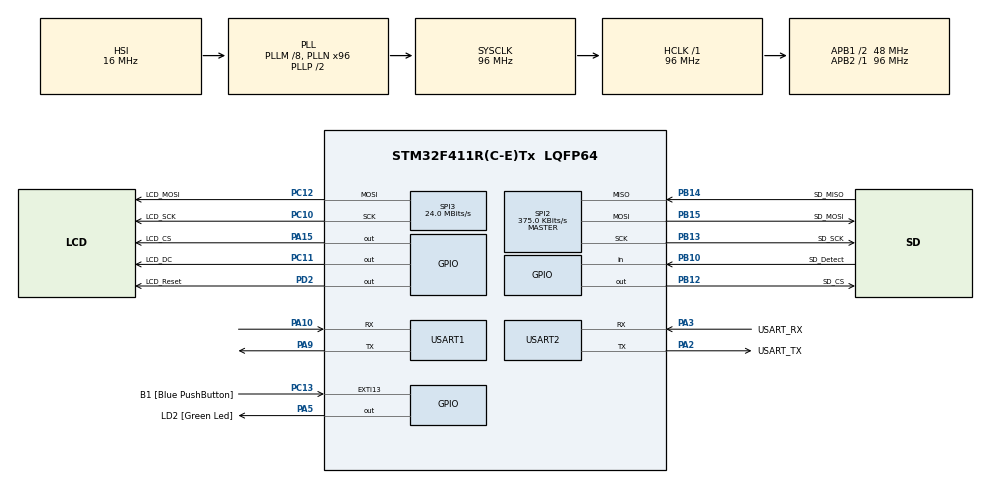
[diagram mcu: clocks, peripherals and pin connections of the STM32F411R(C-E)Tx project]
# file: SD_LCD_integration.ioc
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Mcu.Family=STM32F4
Mcu.Name=STM32F411R(C-E)Tx
Mcu.Package=LQFP64
NVIC.PriorityGroup=NVIC_PRIORITYGROUP_0
PA10.Mode=Asynchronous
PA10.Signal=USART1_RX
PA13.GPIO_Label=TMS
PA13.Mode=Serial_Wire
PA13.Signal=SYS_JTMS-SWDIO
PA14.GPIO_Label=TCK
PA14.Mode=Serial_Wire
PA14.Signal=SYS_JTCK-SWCLK
PA15.GPIO_Label=LCD_CS
PA15.Signal=GPIO_Output
PA2.GPIO_Label=USART_TX
PA2.Mode=Asynchronous
PA2.Signal=USART2_TX
PA3.GPIO_Label=USART_RX
PA3.Mode=Asynchronous
PA3.Signal=USART2_RX
PA5.GPIO_Label=LD2 [Green Led]
PA5.Signal=GPIO_Output
PA9.Mode=Asynchronous
PA9.Signal=USART1_TX
PB10.GPIO_Label=SD_Detect
PB10.GPIO_PuPd=GPIO_PULLUP
PB10.Signal=GPIO_Input
PB12.GPIO_Label=SD_CS
PB12.GPIO_PuPd=GPIO_PULLUP
PB12.Signal=GPIO_Output
PB13.GPIO_Label=SD_SCK
PB13.Mode=Full_Duplex_Master
PB13.Signal=SPI2_SCK
PB14.GPIO_Label=SD_MISO
PB14.GPIO_PuPd=GPIO_PULLUP
PB14.Mode=Full_Duplex_Master
PB14.Signal=SPI2_MISO
PB15.GPIO_Label=SD_MOSI
PB15.GPIO_PuPd=GPIO_PULLUP
PB15.Mode=Full_Duplex_Master
PB15.Signal=SPI2_MOSI
PB3.GPIO_Label=SWO
PB3.Signal=SYS_JTDO-SWO
PC10.GPIO_Label=LCD_SCK
PC10.Mode=TX_Only_Simplex_Unidirect_Master
PC10.Signal=SPI3_SCK
PC11.GPIO_Label=LCD_DC
PC11.Signal=GPIO_Output
PC12.GPIO_Label=LCD_MOSI
PC12.Mode=TX_Only_Simplex_Unidirect_Master
PC12.Signal=SPI3_MOSI
PC13-ANTI_TAMP.GPIO_Label=B1 [Blue PushButton]
PC13-ANTI_TAMP.GPIO_ModeDefaultEXTI=GPIO_MODE_IT_FALLING
PC13-ANTI_TAMP.Signal=GPXTI13
PC14-OSC32_IN.Mode=LSE-External-Oscillator
PC14-OSC32_IN.Signal=RCC_OSC32_IN
PC15-OSC32_OUT.Mode=LSE-External-Oscillator
PC15-OSC32_OUT.Signal=RCC_OSC32_OUT
PD2.GPIO_Label=LCD_Reset
PD2.Signal=GPIO_Output
PH0\ -\ OSC_IN.Mode=HSE-External-Clock-Source
PH0\ -\ OSC_IN.Signal=RCC_OSC_IN
PH1\ -\ OSC_OUT.Mode=HSE-External-Clock-Source
PH1\ -\ OSC_OUT.Signal=RCC_OSC_OUT
ProjectManager.HeapSize=0x200
ProjectManager.StackSize=0x400
ProjectManager.TargetToolchain=STM32CubeIDE
RCC.48MHZClocksFreq_Value=48000000
RCC.AHBFreq_Value=96000000
RCC.APB1CLKDivider=RCC_HCLK_DIV2
RCC.APB1Freq_Value=48000000
RCC.APB1TimFreq_Value=96000000
RCC.APB2Freq_Value=96000000
RCC.APB2TimFreq_Value=96000000
RCC.CortexFreq_Value=96000000
RCC.FLatency-AdvancedSettings=FLASH_LATENCY_3
RCC.HCLKFreq_Value=96000000
RCC.HSE_VALUE=8000000
RCC.HSI_VALUE=16000000
RCC.PLLM=8
RCC.PLLN=96
RCC.SYSCLKFreq_VALUE=96000000
RCC.SYSCLKSource=RCC_SYSCLKSOURCE_PLLCLK
RCC.VCOOutputFreq_Value=192000000
SPI2.BaudRatePrescaler=SPI_BAUDRATEPRESCALER_128
SPI2.CalculateBaudRate=375.0 KBits/s
SPI2.Direction=SPI_DIRECTION_2LINES
SPI2.Mode=SPI_MODE_MASTER
SPI2.VirtualType=VM_MASTER
SPI3.CalculateBaudRate=24.0 MBits/s
SPI3.Direction=SPI_DIRECTION_2LINES
SPI3.Mode=SPI_MODE_MASTER
SPI3.VirtualType=VM_MASTER
USART1.VirtualMode=VM_ASYNC
USART2.VirtualMode=VM_ASYNC
VP_FATFS_VS_Generic.Mode=User_defined
board=NUCLEO-F411RE

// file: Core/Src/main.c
/* USER CODE BEGIN Header */
/**
  ******************************************************************************
  * @file           : main.c
  * @brief          : Main program body
  ******************************************************************************
  * @attention
  *
  * Copyright (c) 2024 STMicroelectronics.
  * All rights reserved.
  *
  * This software is licensed under terms that can be found in the LICENSE file
  * in the root directory of this software component.
  * If no LICENSE file comes with this software, it is provided AS-IS.
  *
  ******************************************************************************
  */
/* USER CODE END Header */
#include "main.h"
#include "fatfs.h"

/* USER CODE BEGIN Includes */
#include <stdio.h>
#include <string.h>
#include "ili9341.h"
#include "fonts.h"
/* USER CODE END Includes */

SPI_HandleTypeDef hspi2;
SPI_HandleTypeDef hspi3;

UART_HandleTypeDef huart1;
UART_HandleTypeDef huart2;

/* USER CODE BEGIN PV */
int16_t x, y;
char buff[64];
uint16_t z=25;
/* USER CODE END PV */

void SystemClock_Config(void);
static void MX_GPIO_Init(void);
static void MX_USART2_UART_Init(void);
static void MX_SPI2_Init(void);
static void MX_SPI3_Init(void);
static void MX_USART1_UART_Init(void);

/* USER CODE BEGIN 0 */
#ifdef __GNUC__
  /* With GCC, small printf (option LD Linker->Libraries->Small printf
     set to 'Yes') calls __io_putchar() */
int __io_putchar(int ch)
#else
int fputc(int ch, FILE *f)
#endif /* __GNUC__ */
{
  /* Place your implementation of fputc here */
  /* e.g. write a character to the UART3 and Loop until the end of transmission */
  HAL_UART_Transmit(&huart1, (uint8_t *)&ch, 1, HAL_MAX_DELAY);
  return ch;
}

FATFS fs;  // file system
FIL file; // File
FILINFO fno;
FRESULT fresult;  // result
UINT br, bw;  // File read/write count

/**** capacity related *****/
FATFS *pfs;
DWORD fre_clust;
uint32_t total, free_space;
char buffer[100];
uint16_t farbe;

typedef struct BmpHeader
{
uint8_t B;
uint8_t M;
uint32_t fsize;
uint16_t res1;
uint16_t res2;
uint32_t offset;
uint32_t hsize;
uint32_t w;
uint32_t h;
uint16_t planes;
uint16_t bpp;
uint32_t ctype;
uint32_t dsize;
uint32_t hppm;
uint32_t vppm;
uint32_t colorsused;
uint32_t colorreq;
}BmpHeader;

#define SPIbuffSize 264
#define BUFFER_SIZE 1032
#define BITMAP_HEADER_SIZE sizeof(BmpHeader)
#define MIN(a, b) (((a)<(b))?(a): (b))

int bufsize (char *buf)				// returns size of buffer
{
   int i=0;
   while (*buf++ != '\0') i++;
   return i;
}

void bufclear (void)					// clears the global buffer variable for spi
{
    for (int i=0; i<1024;i++)
    {
    	buffer[i]= '\0';
    }
}

//int displayImage(const char* fname) {
////    UART_Printf("Openning %s...\r\n", fname);
////    FIL file;
//    FRESULT res = f_open(&file, fname, FA_READ);
//    if(res != FR_OK) {
//    	snprintf(buff, sizeof(buff), "f_open() failed, res = %d\r\n", res);
//    	printf("f_open() failed, res = %d\r\n", res);
//        ILI9341_WriteString(0, 10, buff, Font_7x10, ILI9341_RED, ILI9341_WHITE);
//        return -1;
//    }
//
//    printf("File opened, reading...\r\n");
//    ILI9341_WriteString(0, 20, "File opened, reading...\r\n", Font_7x10, ILI9341_RED, ILI9341_WHITE);
//
//    unsigned int bytesRead;
//    uint8_t header[34];
//    res = f_read(&file, header, sizeof(header), &bytesRead);
//    if(res != FR_OK) {
//    	printf("f_read() failed: %i\r\n", res);
//        ILI9341_WriteString(0, 30, "f_read() failed, res = %d\r\n", Font_7x10, ILI9341_RED, ILI9341_WHITE);
//        f_close(&file);
//        return -2;
//    }
//
//    if((header[0] != 0x42) || (header[1] != 0x4D)) {
//    	printf("Wrong BMP signature\r\n");
//        ILI9341_WriteString(0, 40, "Wrong BMP signature: 0x%02X 0x%02X\r\n", Font_7x10, ILI9341_RED, ILI9341_WHITE);
//        f_close(&file);
//        return -3;
//    }
//
//    uint32_t imageOffset = header[10] | (header[11] << 8) | (header[12] << 16) | (header[13] << 24);
//    uint32_t imageWidth = header[18] | (header[19] << 8) | (header[20] << 16) | (header[21] << 24);
//    uint32_t imageHeight = header[22] | (header[23] << 8) | (header[24] << 16) | (header[25] << 24);
//    uint16_t imagePlanes = header[26] | (header[27] << 8);
//    uint16_t imageBitsPerPixel = header[28] | (header[29] << 8);
//    uint32_t imageCompression = header[30] | (header[31] << 8) | (header[32] << 16) | (header[33] << 24);
//
//    printf("Pixels offset: %lu\r\n", imageOffset);
//    snprintf(buff, sizeof(buff), "Pixels offset: %lu\r\n ", imageOffset);
//	ILI9341_WriteString(0, 50, buff, Font_7x10, ILI9341_RED, ILI9341_WHITE);
//    printf("WxH: %lux%lu\r\n", imageWidth, imageHeight);
//	snprintf(buff, sizeof(buff), "WxH: %lux%lu\r\n ", imageWidth, imageHeight);
//	ILI9341_WriteString(0, 60, buff, Font_7x10, ILI9341_RED, ILI9341_WHITE);
//	printf("Planes: %d\r\n", imagePlanes);
//    snprintf(buff, sizeof(buff), "Planes: %d\r\n ", imagePlanes);
//	ILI9341_WriteString(0, 70, buff, Font_7x10, ILI9341_RED, ILI9341_WHITE);
//	printf("Bits per pixel: %ld\r\n", imageBitsPerPixel);
//    snprintf(buff, sizeof(buff), "Bits per pixel: %d\r\n ", imageBitsPerPixel);
//	ILI9341_WriteString(0, 80, buff, Font_7x10, ILI9341_RED, ILI9341_WHITE);
//	printf("Compression: %ld\r\n", imageCompression);
//    snprintf(buff, sizeof(buff), "Compression: %d\r\n ", imageCompression);
//	ILI9341_WriteString(0, 90, buff, Font_7x10, ILI9341_RED, ILI9341_WHITE);
//
////    if((imageWidth != ILI9341_WIDTH) || (imageHeight != ILI9341_HEIGHT)) {
//////        UART_Printf("Wrong BMP size, %dx%d expected\r\n", ST7735_WIDTH, ST7735_HEIGHT);
////        ILI9341_WriteString(0, 100, "Wrong BMP size, %dx%d expected\r\n", Font_7x10, ILI9341_RED, ILI9341_WHITE);
////        f_close(&file);
////        return -4;
////    }
//
//    if((imagePlanes != 1) || (imageBitsPerPixel != 24) || (imageCompression != 0)) {
//        ILI9341_WriteString(0, 110, "Unsupported image format\r\n", Font_7x10, ILI9341_RED, ILI9341_WHITE);
//        f_close(&file);
//        return -5;
//    }
//
//    res = f_lseek(&file, imageOffset);
//    if(res != FR_OK) {
//    	printf("f_lseek() failed, %i", res);
//        snprintf(buff, sizeof(buff), "f_lseek() failed, res = %d\r\n ", res);
//    	ILI9341_WriteString(0, 120, buff, Font_7x10, ILI9341_RED, ILI9341_WHITE);
//        f_close(&file);
//        return -6;
//    }
//
//    // row size is aligned to 4 bytes
//    uint8_t imageRow[(imageWidth * 3 + 3) & ~3];
//    for(uint32_t y = 0; y < imageHeight; y++) {
//        uint32_t rowIdx = 0;
//        res = f_read(&file, imageRow, sizeof(imageRow), &bytesRead);
//        if(res != FR_OK) {
//        	printf("f_read() failed, %i", res);
//            snprintf(buff, sizeof(buff), "f_read() failed, res = %d\r\n", res);
//        	ILI9341_WriteString(0, 130, buff, Font_7x10, ILI9341_RED, ILI9341_WHITE);
//            f_close(&file);
//            return -7;
//        }
//
//        for(uint32_t x = ILI9341_WIDTH - imageWidth; x < ILI9341_WIDTH; x++) {
//            uint8_t b = imageRow[rowIdx++];
//            uint8_t g = imageRow[rowIdx++];
//            uint8_t r = imageRow[rowIdx++];
//            uint16_t color565 = ILI9341_COLOR565(r, g, b);
//            ILI9341_DrawPixel(x, ILI9341_HEIGHT - y - 1, color565);
//        }
//    }
//
//    res = f_close(&file);
//    if(res != FR_OK) {
////        UART_Printf("f_close() failed, res = %d\r\n", res);
//    	printf("f_close() failed %i", res);
//        snprintf(buff, sizeof(buff), "f_close() failed, res = %d\r\n", res);
//    	ILI9341_WriteString(0, 140, buff, Font_7x10, ILI9341_RED, ILI9341_WHITE);
//        return -8;
//    }
//
//    return 0;
//}

int displayImage(const char*fname, uint32_t startx, uint32_t starty) {
	    FRESULT res = f_open(&file, fname, FA_READ);
	    if(res != FR_OK) {
	    	printf("f_open() failed, res = %d, %s\r\n", res, fname);
	        return -1;
	    }

	    printf("File opened, reading...\r\n");

	    unsigned int bytesRead;
	    uint8_t header[34];
	    res = f_read(&file, header, sizeof(header), &bytesRead);
	    if(res != FR_OK) {
	    	printf("f_read() failed: %i\r\n", res);
	        f_close(&file);
	        return -2;
	    }

	    if((header[0] != 0x42) || (header[1] != 0x4D)) {
	    	printf("Wrong BMP signature\r\n");
	        f_close(&file);
	        return -3;
	    }

	    uint32_t imageOffset = header[10] | (header[11] << 8) | (header[12] << 16) | (header[13] << 24);
	    uint32_t imageWidth = header[18] | (header[19] << 8) | (header[20] << 16) | (header[21] << 24);
	    uint32_t imageHeight = header[22] | (header[23] << 8) | (header[24] << 16) | (header[25] << 24);
	    uint16_t imagePlanes = header[26] | (header[27] << 8);
	    uint16_t imageBitsPerPixel = header[28] | (header[29] << 8);
	    uint32_t imageCompression = header[30] | (header[31] << 8) | (header[32] << 16) | (header[33] << 24);

	    if((imagePlanes != 1) || (imageBitsPerPixel != 24) || (imageCompression != 0)) {
	        f_close(&file);
	        return -5;
	    }

	    res = f_lseek(&file, imageOffset);
	    if(res != FR_OK) {
	    	printf("f_lseek() failed, %i", res);
	        snprintf(buff, sizeof(buff), "f_lseek() failed, res = %d\r\n ", res);
	    	ILI9341_WriteString(0, 120, buff, Font_7x10, ILI9341_RED, ILI9341_WHITE);
	        f_close(&file);
	        return -6;
	    }

	    // row size is aligned to 4 bytes
	    uint8_t imageRow[(imageWidth * 3 + 3) & ~3];
	    for(uint32_t y = starty; y < starty + imageHeight; y++) {
	        uint32_t rowIdx = 0;
	        res = f_read(&file, imageRow, sizeof(imageRow), &bytesRead);
	        if(res != FR_OK) {
	        	printf("f_read() failed, %i", res);
	            f_close(&file);
	            return -7;
	        }

	        for(uint32_t x = startx; x < startx + imageWidth; x++) {
	            uint8_t b = imageRow[rowIdx++];
	            uint8_t g = imageRow[rowIdx++];
	            uint8_t r = imageRow[rowIdx++];
	            uint16_t color565 = ILI9341_COLOR565(r, g, b);
	            ILI9341_DrawPixel(x, (2*starty) + imageHeight - y - 1, color565);
	        }
	    }

	    res = f_close(&file);
	    if(res != FR_OK) {
	    	printf("f_close() failed %i", res);
	        return -8;
	    }

	    return 0;
}

/* USER CODE END 0 */

int main(void)
{

  /* MCU Configuration--------------------------------------------------------*/

  /* Reset of all peripherals, Initializes the Flash interface and the Systick. */
  HAL_Init();

  /* Configure the system clock */
  SystemClock_Config();

  /* Initialize all configured peripherals */
  MX_GPIO_Init();
  MX_USART2_UART_Init();
  MX_SPI2_Init();
  MX_SPI3_Init();
  MX_FATFS_Init();
  MX_USART1_UART_Init();
  /* USER CODE BEGIN 2 */

  ILI9341_Init();
//  FRESULT res = f_mount(&fs, "", 0);
//   if(res != FR_OK) {
// //      UART_Printf("f_mount() failed, res = %d\r\n", res);
//	   printf("f_mount() failed %i\r\n", res);
//       snprintf(buff, sizeof(buff), "f_mount() failed, res = %d\r\n", res);
//   	ILI9341_WriteString(0, 150, buff, Font_7x10, ILI9341_RED, ILI9341_WHITE);
//       return -2;
//   }
//   printf("f_mount() done!\r\n");
//   ILI9341_WriteString(0, 160, "f_mount() done!\r\n", Font_7x10, ILI9341_RED, ILI9341_WHITE);

//  printf("\r\n~ SD card demo by kiwih ~\r\n\r\n");
//
  HAL_Delay(1000); //a short delay is important to let the SD card settle

  //some variables for FatFs
  FATFS FatFs; 	//Fatfs handle
  FIL file; 		//File handle
  FRESULT fres; //Result after operations

  //Open the file system
  fres = f_mount(&FatFs, "", 1); //1=mount now
  if (fres != FR_OK) {
	printf("f_mount error (%i)\r\n", fres);
	while(1);
  }

  //Let's get some statistics from the SD card
  DWORD free_clusters, free_sectors, total_sectors;

  FATFS* getFreeFs;

  fres = f_getfree("", &free_clusters, &getFreeFs);
  if (fres != FR_OK) {
	printf("f_getfree error (%i)\r\n", fres);
	while(1);
  }

  //Formula comes from ChaN's documentation
  total_sectors = (getFreeFs->n_fatent - 2) * getFreeFs->csize;
  free_sectors = free_clusters * getFreeFs->csize;

  printf("SD card stats:\r\n%10lu KiB total drive space.\r\n%10lu KiB available.\r\n", total_sectors / 2, free_sectors / 2);

  //Now let's try to open file "test.txt"
  fres = f_open(&file, "test.txt", FA_READ);
  if (fres != FR_OK) {
	printf("f_open error (%i)\r\n", fres);
	while(1);
  }
  printf("I was able to open 'test.txt' for reading!\r\n");

  //Read 30 bytes from "test.txt" on the SD card
  BYTE readBuf[30];

  //We can either use f_read OR f_gets to get data out of files
  //f_gets is a wrapper on f_read that does some string formatting for us
  TCHAR* rres = f_gets((TCHAR*)readBuf, 30, &file);
  if(rres != 0) {
	printf("Read string from 'test.txt' contents: %s\r\n", readBuf);
  } else {
	printf("f_gets error (%i)\r\n", fres);
  }

  //Be a tidy kiwi - don't forget to close your file!
  f_close(&file);
//
//  //We're done, so de-mount the drive
//  f_mount(NULL, "", 0);
  displayImage("full.bmp", 20, 0);
  /* USER CODE END 2 */

  /* Infinite loop */
  while (1)
  {

  }
}

void SystemClock_Config(void)
{
  RCC_OscInitTypeDef RCC_OscInitStruct = {0};
  RCC_ClkInitTypeDef RCC_ClkInitStruct = {0};

  /** Configure the main internal regulator output voltage
  */
  __HAL_RCC_PWR_CLK_ENABLE();
  __HAL_PWR_VOLTAGESCALING_CONFIG(PWR_REGULATOR_VOLTAGE_SCALE1);

  /** Initializes the RCC Oscillators according to the specified parameters
  * in the RCC_OscInitTypeDef structure.
  */
  RCC_OscInitStruct.OscillatorType = RCC_OSCILLATORTYPE_HSI;
  RCC_OscInitStruct.HSIState = RCC_HSI_ON;
  RCC_OscInitStruct.HSICalibrationValue = RCC_HSICALIBRATION_DEFAULT;
  RCC_OscInitStruct.PLL.PLLState = RCC_PLL_ON;
  RCC_OscInitStruct.PLL.PLLSource = RCC_PLLSOURCE_HSI;
  RCC_OscInitStruct.PLL.PLLM = 8;
  RCC_OscInitStruct.PLL.PLLN = 96;
  RCC_OscInitStruct.PLL.PLLP = RCC_PLLP_DIV2;
  RCC_OscInitStruct.PLL.PLLQ = 4;
  if (HAL_RCC_OscConfig(&RCC_OscInitStruct) != HAL_OK)
  {
    Error_Handler();
  }

  /** Initializes the CPU, AHB and APB buses clocks
  */
  RCC_ClkInitStruct.ClockType = RCC_CLOCKTYPE_HCLK|RCC_CLOCKTYPE_SYSCLK
                              |RCC_CLOCKTYPE_PCLK1|RCC_CLOCKTYPE_PCLK2;
  RCC_ClkInitStruct.SYSCLKSource = RCC_SYSCLKSOURCE_PLLCLK;
  RCC_ClkInitStruct.AHBCLKDivider = RCC_SYSCLK_DIV1;
  RCC_ClkInitStruct.APB1CLKDivider = RCC_HCLK_DIV2;
  RCC_ClkInitStruct.APB2CLKDivider = RCC_HCLK_DIV1;

  if (HAL_RCC_ClockConfig(&RCC_ClkInitStruct, FLASH_LATENCY_3) != HAL_OK)
  {
    Error_Handler();
  }
}

static void MX_SPI2_Init(void)
{

  /* SPI2 parameter configuration*/
  hspi2.Instance = SPI2;
  hspi2.Init.Mode = SPI_MODE_MASTER;
  hspi2.Init.Direction = SPI_DIRECTION_2LINES;
  hspi2.Init.DataSize = SPI_DATASIZE_8BIT;
  hspi2.Init.CLKPolarity = SPI_POLARITY_LOW;
  hspi2.Init.CLKPhase = SPI_PHASE_1EDGE;
  hspi2.Init.NSS = SPI_NSS_SOFT;
  hspi2.Init.BaudRatePrescaler = SPI_BAUDRATEPRESCALER_128;
  hspi2.Init.FirstBit = SPI_FIRSTBIT_MSB;
  hspi2.Init.TIMode = SPI_TIMODE_DISABLE;
  hspi2.Init.CRCCalculation = SPI_CRCCALCULATION_DISABLE;
  hspi2.Init.CRCPolynomial = 10;
  if (HAL_SPI_Init(&hspi2) != HAL_OK)
  {
    Error_Handler();
  }

}

static void MX_SPI3_Init(void)
{

  /* SPI3 parameter configuration*/
  hspi3.Instance = SPI3;
  hspi3.Init.Mode = SPI_MODE_MASTER;
  hspi3.Init.Direction = SPI_DIRECTION_2LINES;
  hspi3.Init.DataSize = SPI_DATASIZE_8BIT;
  hspi3.Init.CLKPolarity = SPI_POLARITY_LOW;
  hspi3.Init.CLKPhase = SPI_PHASE_1EDGE;
  hspi3.Init.NSS = SPI_NSS_SOFT;
  hspi3.Init.BaudRatePrescaler = SPI_BAUDRATEPRESCALER_2;
  hspi3.Init.FirstBit = SPI_FIRSTBIT_MSB;
  hspi3.Init.TIMode = SPI_TIMODE_DISABLE;
  hspi3.Init.CRCCalculation = SPI_CRCCALCULATION_DISABLE;
  hspi3.Init.CRCPolynomial = 10;
  if (HAL_SPI_Init(&hspi3) != HAL_OK)
  {
    Error_Handler();
  }

}

static void MX_USART1_UART_Init(void)
{

  huart1.Instance = USART1;
  huart1.Init.BaudRate = 115200;
  huart1.Init.WordLength = UART_WORDLENGTH_8B;
  huart1.Init.StopBits = UART_STOPBITS_1;
  huart1.Init.Parity = UART_PARITY_NONE;
  huart1.Init.Mode = UART_MODE_TX_RX;
  huart1.Init.HwFlowCtl = UART_HWCONTROL_NONE;
  huart1.Init.OverSampling = UART_OVERSAMPLING_16;
  if (HAL_UART_Init(&huart1) != HAL_OK)
  {
    Error_Handler();
  }

}

static void MX_USART2_UART_Init(void)
{

  huart2.Instance = USART2;
  huart2.Init.BaudRate = 115200;
  huart2.Init.WordLength = UART_WORDLENGTH_8B;
  huart2.Init.StopBits = UART_STOPBITS_1;
  huart2.Init.Parity = UART_PARITY_NONE;
  huart2.Init.Mode = UART_MODE_TX_RX;
  huart2.Init.HwFlowCtl = UART_HWCONTROL_NONE;
  huart2.Init.OverSampling = UART_OVERSAMPLING_16;
  if (HAL_UART_Init(&huart2) != HAL_OK)
  {
    Error_Handler();
  }

}

static void MX_GPIO_Init(void)
{
  GPIO_InitTypeDef GPIO_InitStruct = {0};

  /* GPIO Ports Clock Enable */
  __HAL_RCC_GPIOC_CLK_ENABLE();
  __HAL_RCC_GPIOH_CLK_ENABLE();
  __HAL_RCC_GPIOA_CLK_ENABLE();
  __HAL_RCC_GPIOB_CLK_ENABLE();
  __HAL_RCC_GPIOD_CLK_ENABLE();

  /*Configure GPIO pin Output Level */
  HAL_GPIO_WritePin(GPIOA, LD2_Pin|LCD_CS_Pin, GPIO_PIN_RESET);

  /*Configure GPIO pin Output Level */
  HAL_GPIO_WritePin(SD_CS_GPIO_Port, SD_CS_Pin, GPIO_PIN_RESET);

  /*Configure GPIO pin Output Level */
  HAL_GPIO_WritePin(LCD_DC_GPIO_Port, LCD_DC_Pin, GPIO_PIN_RESET);

  /*Configure GPIO pin Output Level */
  HAL_GPIO_WritePin(LCD_Reset_GPIO_Port, LCD_Reset_Pin, GPIO_PIN_RESET);

  /*Configure GPIO pin : B1_Pin */
  GPIO_InitStruct.Pin = B1_Pin;
  GPIO_InitStruct.Mode = GPIO_MODE_IT_FALLING;
  GPIO_InitStruct.Pull = GPIO_NOPULL;
  HAL_GPIO_Init(B1_GPIO_Port, &GPIO_InitStruct);

  /*Configure GPIO pins : LD2_Pin LCD_CS_Pin */
  GPIO_InitStruct.Pin = LD2_Pin|LCD_CS_Pin;
  GPIO_InitStruct.Mode = GPIO_MODE_OUTPUT_PP;
  GPIO_InitStruct.Pull = GPIO_NOPULL;
  GPIO_InitStruct.Speed = GPIO_SPEED_FREQ_LOW;
  HAL_GPIO_Init(GPIOA, &GPIO_InitStruct);

  /*Configure GPIO pin : SD_Detect_Pin */
  GPIO_InitStruct.Pin = SD_Detect_Pin;
  GPIO_InitStruct.Mode = GPIO_MODE_INPUT;
  GPIO_InitStruct.Pull = GPIO_PULLUP;
  HAL_GPIO_Init(SD_Detect_GPIO_Port, &GPIO_InitStruct);

  /*Configure GPIO pin : SD_CS_Pin */
  GPIO_InitStruct.Pin = SD_CS_Pin;
  GPIO_InitStruct.Mode = GPIO_MODE_OUTPUT_PP;
  GPIO_InitStruct.Pull = GPIO_PULLUP;
  GPIO_InitStruct.Speed = GPIO_SPEED_FREQ_LOW;
  HAL_GPIO_Init(SD_CS_GPIO_Port, &GPIO_InitStruct);

  /*Configure GPIO pin : LCD_DC_Pin */
  GPIO_InitStruct.Pin = LCD_DC_Pin;
  GPIO_InitStruct.Mode = GPIO_MODE_OUTPUT_PP;
  GPIO_InitStruct.Pull = GPIO_NOPULL;
  GPIO_InitStruct.Speed = GPIO_SPEED_FREQ_LOW;
  HAL_GPIO_Init(LCD_DC_GPIO_Port, &GPIO_InitStruct);

  /*Configure GPIO pin : LCD_Reset_Pin */
  GPIO_InitStruct.Pin = LCD_Reset_Pin;
  GPIO_InitStruct.Mode = GPIO_MODE_OUTPUT_PP;
  GPIO_InitStruct.Pull = GPIO_NOPULL;
  GPIO_InitStruct.Speed = GPIO_SPEED_FREQ_LOW;
  HAL_GPIO_Init(LCD_Reset_GPIO_Port, &GPIO_InitStruct);

}

void Error_Handler(void)
{
  __disable_irq();
  while (1)
  {
  }
}
